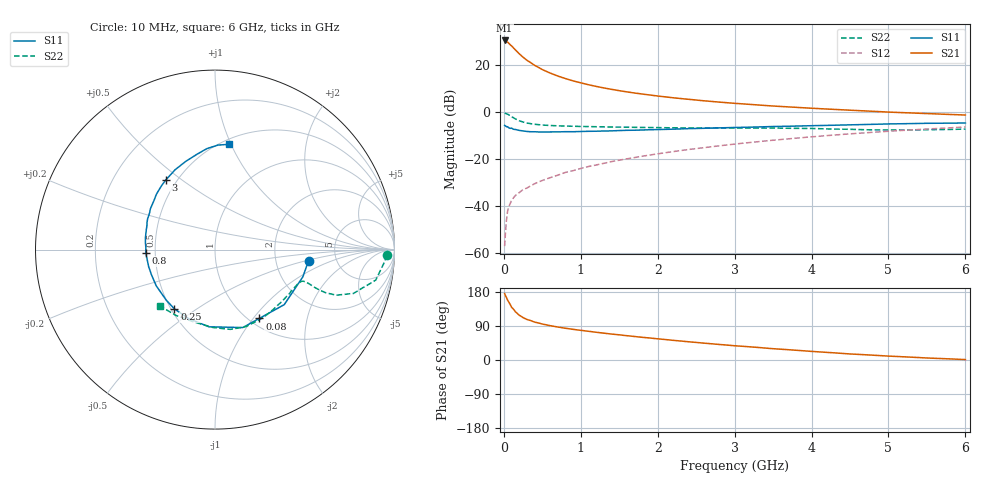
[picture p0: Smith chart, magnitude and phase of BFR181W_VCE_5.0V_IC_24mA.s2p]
! Infineon Technologies  Discrete & RF Semiconductors
! BFR181W
! VCE =  5.0 V,  IC =  24 mA
! Common Emitter S-Parameters:  Jan 2017
# GHz  S  MA  R  50
!  f  S11  S21  S12  S22
! GHz  MAG  ANG  MAG  ANG  MAG  ANG  MAG  ANG
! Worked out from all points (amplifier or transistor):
!   77 points, 10 MHz to 6 GHz, reference 50 ohm
!   highest |S21| = 30.6 dB at 10 MHz (marker M1)
!   |S21| within 3 dB of that: start of sweep to 120.6 MHz
!   unconditionally stable (mu >= 1): 484.1 MHz to 2.433 GHz
!   at 130 MHz: K = 0.49, MSG = 31.8 dB, |S12| = -36.2 dB
!   at 2.2 GHz: K = 1.04, MAG = 10.3 dB, |S12| = -16.8 dB
!   at 6 GHz: K = 0.85, MSG = 2.6 dB, |S12| = -6.3 dB
!   S11 on the Smith chart (normalised r, x): 10 MHz: 3.10, -0.54; 80 MHz: 1.11, -1.07; 250 MHz: 0.52, -0.41; 800 MHz: 0.44, -0.02; 3 GHz: 0.44, +0.43; 6 GHz: 0.54, +0.98
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0.01  0.5248 -6.9  33.99 175.6  0.0014 101.1  0.9573 -1.8
0.02  0.5125 -17.2  33.31 170.4  0.0025 94.6  0.9475 -4.1
0.05  0.4928 -38.5  31.29 157.5  0.008 75.4  0.9119 -10.7
0.08  0.456 -57.2  27.85 147.5  0.0111 69.9  0.8484 -14.6
0.1  0.461 -70.4  26.13 139.5  0.0132 67.7  0.8086 -17.6
0.15  0.4315 -94.5  21.44 127.3  0.0168 63.6  0.7227 -20.6
0.2  0.4112 -111.1  17.67 118.3  0.0194 63.4  0.6607 -21.3
0.25  0.4004 -124.4  14.95 111.9  0.0226 61.2  0.6197 -21.1
0.3  0.3909 -134.3  12.85 107.0  0.0243 62.9  0.5894 -20.7
0.4  0.3846 -148.2  10.02 100.0  0.03 65.8  0.555 -19.9
0.5  0.3808 -158.4  8.147 94.9  0.0352 67.8  0.5357 -19.6
0.6  0.3816 -165.7  6.878 90.7  0.0403 69.7  0.5232 -19.7
0.7  0.382 -171.8  5.941 87.1  0.0456 71.9  0.5152 -20.0
0.8  0.386 -177.2  5.24 83.8  0.0523 73.4  0.5089 -20.7
1.1  0.3932 170.4  3.874 75.8  0.0699 75.6  0.4961 -23.6
1.5  0.4079 158.1  2.89 66.4  0.0954 76.5  0.483 -29.0
2.1  0.4323 143.2  2.131 54.0  0.1376 75.6  0.4691 -39.8
3  0.4745 125.5  1.553 37.6  0.2098 71.1  0.4622 -58.4
3.1  0.4781 123.6  1.513 36.2  0.2185 70.3  0.4611 -60.4
4.1  0.5217 106.8  1.197 21.4  0.309 61.8  0.4472 -81.5
5.1  0.5678 93.2  0.996 9.4  0.403 51.4  0.4189 -109.0
6  0.5912 82.6  0.874 1.1  0.4853 41.0  0.439 -134.4
